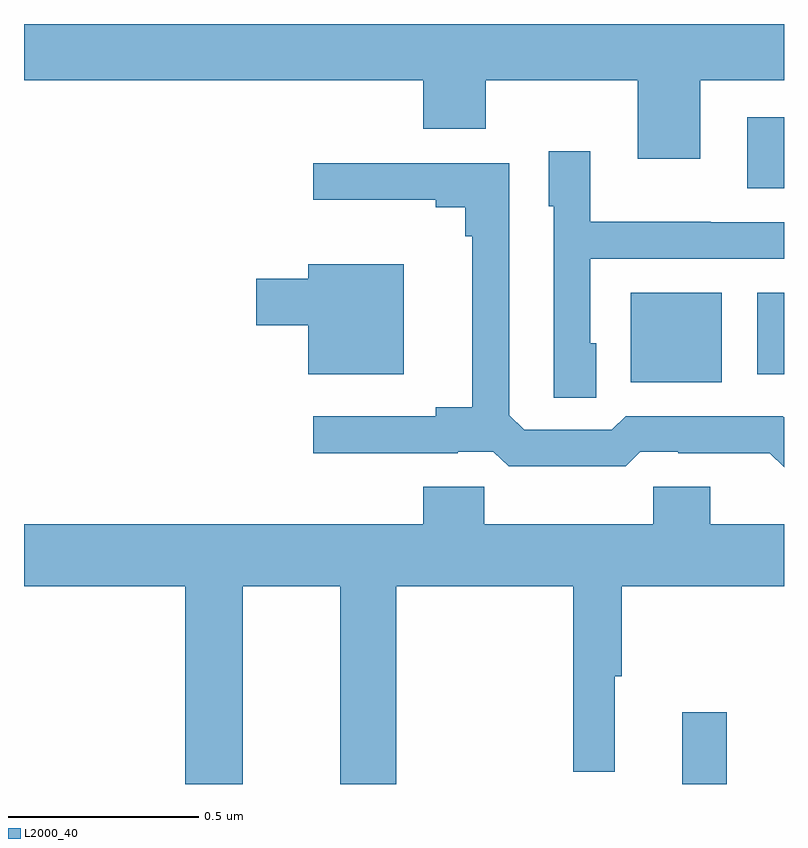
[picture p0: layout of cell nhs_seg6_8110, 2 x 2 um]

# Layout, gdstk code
import gdstk
lib = gdstk.Library(unit=1e-6, precision=1e-09)
def R(c, l, rs):  # rectangles x0, y0, x1, y1
    for r in rs: c.add(gdstk.rectangle(r[:2], r[2:], *l))
def P(c, l, *ps):  # polygons
    for p in ps: c.add(gdstk.Polygon(p, *l))
L2000_40 = (2000, 40)

nhs_seg6_8110 = lib.new_cell('nhs_seg6_8110')
R(nhs_seg6_8110, L2000_40, [(218.732,929.5,218.849,929.689), (218.597,930.557,218.836,930.793), (218.93,930.578,219,930.793), (218.903,931.068,219,931.255)])
P(nhs_seg6_8110, L2000_40, [(218.779,931.352),(219,931.352),(219,931.5),(217,931.5),(217,931.352),(218.051,931.352),(218.051,931.224),(218.215,931.224),(218.215,931.352),(218.615,931.352),(218.615,931.146),(218.779,931.146)],
  [(218.506,930.66),(218.49,930.66),(218.49,930.882),(219,930.882),(219,930.978),(218.807,930.978),(218.807,930.979),(218.49,930.979),(218.49,931.165),(218.381,931.165),(218.381,931.02),(218.394,931.02),(218.394,930.517),(218.506,930.517)],
  [(219,930.465),(218.997,930.468),(218.583,930.468),(218.547,930.432),(218.316,930.432),(218.277,930.471),(218.277,931.134),(217.761,931.134),(217.761,931.037),(218.084,931.037),(218.084,931.018),(218.161,931.018),(218.161,930.941),(218.18,930.941),(218.18,930.491),(218.084,930.491),(218.084,930.468),(217.761,930.468),(217.761,930.371),(218.141,930.371),(218.141,930.375),(218.235,930.375),(218.275,930.336),(218.583,930.336),(218.622,930.375),(218.722,930.375),(218.722,930.371),(218.963,930.371),(219,930.334)],
  [(217.999,930.868),(217.748,930.868),(217.748,930.829),(217.611,930.829),(217.611,930.707),(217.748,930.707),(217.748,930.578),(217.999,930.578)],
  [(217.576,930.02),(217.832,930.02),(217.832,929.5),(217.98,929.5),(217.98,930.02),(218.445,930.02),(218.445,929.532),(218.555,929.532),(218.555,929.784),(218.573,929.784),(218.573,930.02),(219,930.02),(219,930.184),(218.806,930.184),(218.806,930.282),(218.656,930.282),(218.656,930.184),(218.211,930.184),(218.211,930.282),(218.051,930.282),(218.051,930.184),(217,930.184),(217,930.02),(217.424,930.02),(217.424,929.5),(217.576,929.5)])

lib.write_gds('nhs_seg6_8110.gds')
